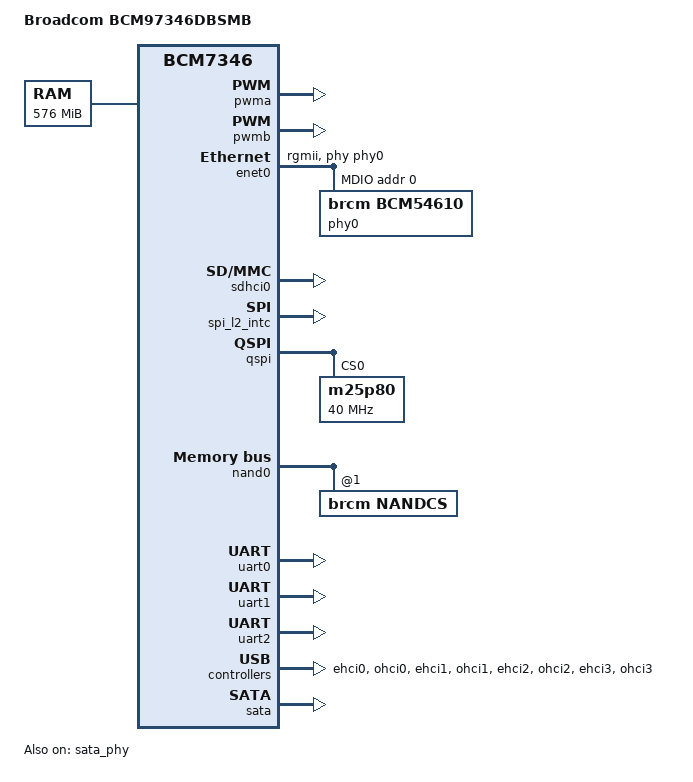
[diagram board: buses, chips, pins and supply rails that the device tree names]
/dts-v1/;

/include/ "bcm7346.dtsi"

/ {
	compatible = "brcm,bcm97346dbsmb", "brcm,bcm7346";
	model = "Broadcom BCM97346DBSMB";

	memory@0 {
		device_type = "memory";
		reg = <0x00000000 0x04000000>, <0x30000000 0x20000000>;
	};

	chosen {
		bootargs = "console=ttyS0,115200";
		stdout-path = &uart0;
	};

	timer {
		compatible = "brcm,brcmstb-timer";
		reg = <0x104067c0 0x28>;
	};

	clocks {
		upg_clk: upg_clk {
			compatible = "fixed-clock";
			#clock-cells = <0>;
			clock-frequency = <27000000>;
		};
	};

	rdb {
		upg_irq0_intc: upg_irq0_intc@406780 {
			compatible = "brcm,bcm7120-l2-intc";
			reg = <0x406780 0x8>;

			brcm,int-map-mask = <0x44>;
			brcm,int-fwd-mask = <0x70000>;

			interrupt-controller;
			#interrupt-cells = <1>;

			interrupt-parent = <&periph_intc>;
			interrupts = <59>;
			interrupt-names = "upg_main";
		};

		upg_aon_irq0_intc: upg_aon_irq0_intc@408b80 {
			compatible = "brcm,bcm7120-l2-intc";
			reg = <0x408b80 0x8>;

			brcm,int-map-mask = <0x40>;
			brcm,int-fwd-mask = <0>;
			brcm,irq-can-wake;

			interrupt-controller;
			#interrupt-cells = <1>;

			interrupt-parent = <&periph_intc>;
			interrupts = <60>;
			interrupt-names = "upg_main_aon";
		};

		pwma: pwm@406580 {
			compatible = "brcm,bcm7038-pwm";
			reg = <0x406580 0x28>;
			#pwm-cells = <2>;
			clocks = <&upg_clk>;
			status = "disabled";
		};

		pwmb: pwm@406800 {
			compatible = "brcm,bcm7038-pwm";
			reg = <0x406800 0x28>;
			#pwm-cells = <2>;
			clocks = <&upg_clk>;
			status = "disabled";
		};

		enet0: ethernet@430000 {
			phy-mode = "rgmii";
			phy-handle = <&phy0>;
			mac-address = [ 00 10 18 36 23 1a ];
			compatible = "brcm,genet-v2";
			#address-cells = <0x1>;
			#size-cells = <0x1>;
			reg = <0x430000 0x4c8c>;
			interrupts = <24>, <25>;
			interrupt-parent = <&periph_intc>;
			status = "disabled";

			mdio@e14 {
				compatible = "brcm,genet-mdio-v2";
				#address-cells = <0x1>;
				#size-cells = <0x0>;
				reg = <0xe14 0x8>;

				phy0: ethernet-phy@0 {
					max-speed = <1000>;
					reg = <0x0>;
					compatible = "brcm,bcm54610",
						"ethernet-phy-ieee802.3-c22";
				};
			};
		};

		sdhci0: sdhci@413500 {
			compatible = "brcm,bcm7425-sdhci";
			reg = <0x413500 0x100>;
			interrupt-parent = <&periph_intc>;
			interrupts = <85>;
			status = "disabled";
		};

		spi_l2_intc: spi_l2_intc@411d00 {
			compatible = "brcm,l2-intc";
			reg = <0x411d00 0x30>;
			interrupt-controller;
			#interrupt-cells = <1>;
			interrupt-parent = <&periph_intc>;
			interrupts = <31>;
		};

		qspi: spi@413000 {
			#address-cells = <0x1>;
			#size-cells = <0x0>;
			compatible = "brcm,qspi-brcmstb";
			reg = <0x410920 0x4 0x413200 0x188 0x413000 0x50>;
			reg-names = "cs_reg", "hif_mspi", "bspi";
			interrupts = <0x6 0x5 0x4 0x3 0x2 0x1 0x0>;
			interrupt-parent = <&spi_l2_intc>;
			interrupt-names = "mspi_halted",
				"mspi_done",
				"spi_lr_overread",
				"spi_lr_session_done",
				"spi_lr_impatient",
				"spi_lr_session_aborted",
				"spi_lr_fullness_reached";
			status = "disabled";
		};

		hif_l2_intc: hif_l2_intc@411000 {
			compatible = "brcm,l2-intc";
			reg = <0x411000 0x30>;
			interrupt-controller;
			#interrupt-cells = <1>;
			interrupt-parent = <&periph_intc>;
			interrupts = <30>;
		};

		nand0: nand@412800 {
			compatible = "brcm,brcmnand-v5.0", "brcm,brcmnand";
			#address-cells = <1>;
			#size-cells = <0>;
			reg-names = "nand";
			reg = <0x412800 0x400>;
			interrupt-parent = <&hif_l2_intc>;
			interrupt-names = "nand_ctlrdy";
			interrupts = <24>;
			status = "disabled";
		};
	};
};

&uart0 {
	status = "okay";
};

&uart1 {
	status = "okay";
};

&uart2 {
	status = "okay";
};

&pwma {
	status = "okay";
};

&pwmb {
	status = "okay";
};

&enet0 {
	status = "okay";
};

&ehci0 {
	status = "okay";
};

&ohci0 {
	status = "okay";
};

&ehci1 {
	status = "okay";
};

&ohci1 {
	status = "okay";
};

&ehci2 {
	status = "okay";
};

&ohci2 {
	status = "okay";
};

&ehci3 {
	status = "okay";
};

&ohci3 {
	status = "okay";
};

&sata {
	status = "okay";
};

&sata_phy {
	status = "okay";
};

&sdhci0 {
	status = "okay";
};

&qspi {
	status = "okay";

	m25p80@0 {
		#size-cells = <0x2>;
		#address-cells = <0x2>;
		compatible = "m25p80";
		reg = <0>;
		spi-max-frequency = <0x2625a00>;
		spi-cpol;
		spi-cpha;
		use-bspi;
		m25p,fast-read;

		flash0.cfe@0 {
			label = "cfe";
			reg = <0x0 0x0 0x0 0xa0000>;
		};

		flash0.nvram@a0000 {
			label = "nvram";
			reg = <0x0 0xa0000 0x0 0x10000>;
		};

		flash0.mac@b0000 {
			label = "mac";
			reg = <0x0 0xb0000 0x0 0x10000>;
		};
	};
};

&nand0 {
	status = "okay";

	nandcs@1 {
		compatible = "brcm,nandcs";
		reg = <1>;
		nand-ecc-step-size = <512>;
		nand-ecc-strength = <4>;
		nand-on-flash-bbt;

		#size-cells = <0x2>;
		#address-cells = <0x2>;

		flash1.kernel@0 {
			label = "kernel";
			reg = <0x0 0x0 0x0 0x800000>;
		};

		flash1.splash@800000 {
			label = "splash";
			reg = <0x0 0x800000 0x0 0x400000>;
		};

		flash1.rootfs@c00000 {
			label = "rootfs";
			reg = <0x0 0xc00000 0x0 0x1f200000>;
		};
	};
};
